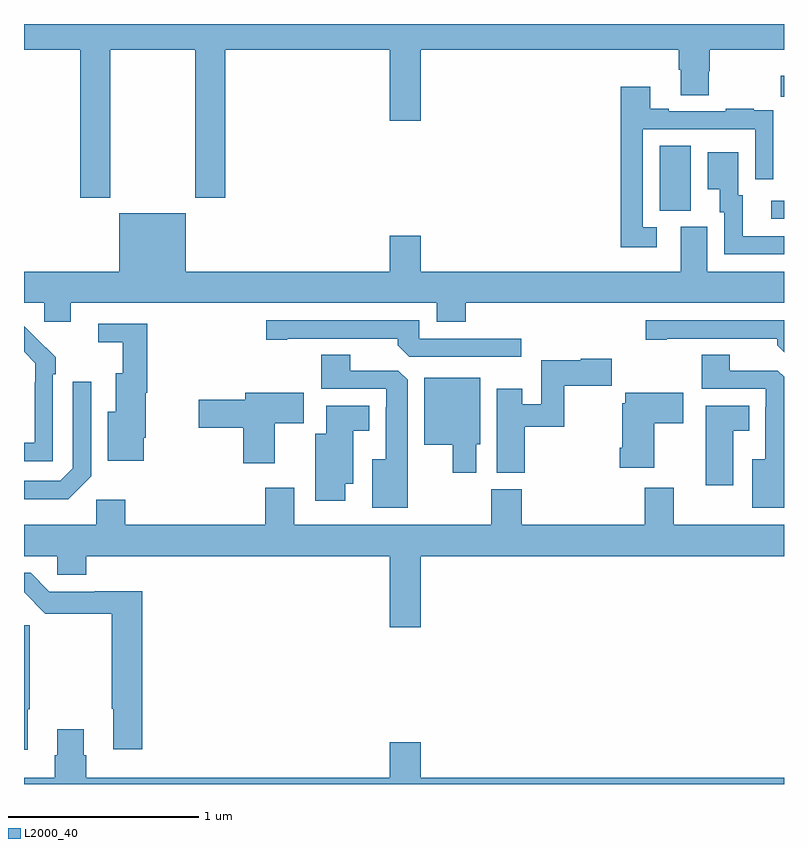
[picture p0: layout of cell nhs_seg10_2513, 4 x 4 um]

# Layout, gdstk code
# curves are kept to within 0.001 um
import gdstk
lib = gdstk.Library(unit=1e-6, precision=1e-09)
def R(c, l, rs):  # rectangles x0, y0, x1, y1
    for r in rs: c.add(gdstk.rectangle(r[:2], r[2:], *l))
def P(c, l, *ps):  # polygons
    for p in ps: c.add(gdstk.Polygon(p, *l))
L2000_40 = (2000, 40)

nhs_seg10_2513 = lib.new_cell('nhs_seg10_2513')
R(nhs_seg10_2513, L2000_40, [(250.932,1251.474,251,1251.57), (250.346,1251.517,250.51,1251.86), (250.983,1252.118,251,1252.228)])
P(nhs_seg10_2513, L2000_40, [(247,1252.364),(247.295,1252.364),(247.295,1251.585),(247.455,1251.585),(247.455,1252.364),(247.9,1252.364),(247.9,1251.585),(248.06,1251.585),(248.06,1252.364),(248.924,1252.364),(248.924,1251.99),(249.088,1251.99),(249.088,1252.364),(250.445,1252.364),(250.445,1252.258),(250.457,1252.258),(250.457,1252.126),(250.605,1252.126),(250.605,1252.251),(250.61,1252.251),(250.61,1252.364),(251,1252.364),(251,1252.5),(247,1252.5)],
  [(250.33,1251.429),(250.257,1251.429),(250.257,1251.945),(250.848,1251.945),(250.848,1251.684),(250.944,1251.684),(250.944,1251.938),(250.943,1251.938),(250.943,1252.047),(250.841,1252.047),(250.841,1252.054),(250.693,1252.054),(250.693,1252.041),(250.393,1252.041),(250.393,1252.054),(250.297,1252.054),(250.297,1252.171),(250.141,1252.171),(250.141,1251.324),(250.33,1251.324)],
  [(251,1251.384),(250.783,1251.384),(250.783,1251.6),(250.759,1251.6),(250.759,1251.826),(250.598,1251.826),(250.598,1251.629),(250.661,1251.629),(250.661,1251.51),(250.686,1251.51),(250.686,1251.288),(251,1251.288)],
  [(251,1251.196),(250.597,1251.196),(250.597,1251.432),(250.457,1251.432),(250.457,1251.196),(249.088,1251.196),(249.088,1251.385),(248.924,1251.385),(248.924,1251.196),(247.852,1251.196),(247.852,1251.505),(247.502,1251.505),(247.502,1251.196),(247,1251.196),(247,1251.032),(247.107,1251.032),(247.107,1250.934),(247.246,1250.934),(247.246,1251.032),(249.173,1251.032),(249.173,1250.933),(249.326,1250.933),(249.326,1251.032),(251,1251.032)],
  [(249.616,1250.844),(249.081,1250.844),(249.081,1250.94),(248.274,1250.94),(248.274,1250.839),(248.386,1250.839),(248.386,1250.844),(248.966,1250.844),(248.966,1250.81),(249.027,1250.748),(249.616,1250.748)],
  [(251,1250.94),(250.272,1250.94),(250.272,1250.839),(250.384,1250.839),(250.384,1250.844),(250.964,1250.844),(250.964,1250.81),(251,1250.773)],
  [(247.63,1250.322),(247.642,1250.322),(247.642,1250.558),(247.649,1250.558),(247.649,1250.922),(247.392,1250.922),(247.392,1250.825),(247.521,1250.825),(247.521,1250.662),(247.484,1250.662),(247.484,1250.458),(247.442,1250.458),(247.442,1250.201),(247.63,1250.201)],
  [(247.152,1250.657),(247.167,1250.657),(247.167,1250.745),(247,1250.91),(247,1250.774),(247.059,1250.715),(247.059,1250.615),(247.056,1250.615),(247.056,1250.295),(247,1250.295),(247,1250.199),(247.152,1250.199)],
  [(251,1250.644),(250.968,1250.676),(250.714,1250.676),(250.714,1250.759),(250.567,1250.759),(250.567,1250.58),(250.905,1250.58),(250.905,1250.483),(250.901,1250.483),(250.901,1250.209),(250.832,1250.209),(250.832,1249.955),(251,1249.955)],
  [(249.019,1250.627),(248.97,1250.676),(248.716,1250.676),(248.716,1250.759),(248.564,1250.759),(248.564,1250.58),(248.907,1250.58),(248.907,1250.483),(248.903,1250.483),(248.903,1250.209),(248.834,1250.209),(248.834,1249.955),(249.019,1249.955)],
  [(249.635,1250.38),(249.844,1250.38),(249.844,1250.596),(250.093,1250.596),(250.093,1250.739),(249.93,1250.739),(249.93,1250.731),(249.723,1250.731),(249.723,1250.499),(249.622,1250.499),(249.622,1250.581),(249.488,1250.581),(249.488,1250.137),(249.635,1250.137)],
  [(249.379,1250.289),(249.4,1250.289),(249.4,1250.638),(249.107,1250.638),(249.107,1250.285),(249.257,1250.285),(249.257,1250.139),(249.379,1250.139)],
  [(247.353,1250.121),(247.353,1250.617),(247.257,1250.617),(247.257,1250.163),(247.191,1250.097),(247,1250.097),(247,1250),(247.232,1250)],
  [(250.318,1250.398),(250.471,1250.398),(250.471,1250.56),(250.314,1250.56),(250.314,1250.558),(250.164,1250.558),(250.164,1250.505),(250.148,1250.505),(250.148,1250.269),(250.136,1250.269),(250.136,1250.165),(250.318,1250.165)],
  [(248.32,1250.398),(248.473,1250.398),(248.473,1250.56),(248.165,1250.56),(248.165,1250.522),(247.92,1250.522),(247.92,1250.375),(248.153,1250.375),(248.153,1250.187),(248.32,1250.187)],
  [(250.732,1250.36),(250.816,1250.36),(250.816,1250.491),(250.589,1250.491),(250.589,1250.073),(250.732,1250.073)],
  [(248.692,1250.081),(248.734,1250.081),(248.734,1250.36),(248.818,1250.36),(248.818,1250.491),(248.591,1250.491),(248.591,1250.344),(248.534,1250.344),(248.534,1249.992),(248.692,1249.992)],
  [(249.088,1249.7),(251,1249.7),(251,1249.864),(250.42,1249.864),(250.42,1250.059),(250.268,1250.059),(250.268,1249.864),(249.62,1249.864),(249.62,1250.052),(249.46,1250.052),(249.46,1249.864),(248.422,1249.864),(248.422,1250.059),(248.27,1250.059),(248.27,1249.864),(247.532,1249.864),(247.532,1249.996),(247.38,1249.996),(247.38,1249.864),(247,1249.864),(247,1249.7),(247.176,1249.7),(247.176,1249.602),(247.328,1249.602),(247.328,1249.7),(248.924,1249.7),(248.924,1249.326),(249.088,1249.326)],
  [(247.622,1249.514),(247.373,1249.514),(247.373,1249.512),(247.134,1249.512),(247.035,1249.611),(247,1249.611),(247,1249.508),(247.112,1249.396),(247.462,1249.396),(247.462,1248.896),(247.469,1248.896),(247.469,1248.684),(247.622,1248.684)],
  [(247.021,1248.893),(247.029,1248.893),(247.029,1249.336),(247,1249.336),(247,1248.681),(247.021,1248.681)],
  [(251,1248.532),(249.088,1248.532),(249.088,1248.721),(248.924,1248.721),(248.924,1248.532),(247.328,1248.532),(247.328,1248.651),(247.315,1248.651),(247.315,1248.787),(247.175,1248.787),(247.175,1248.651),(247.163,1248.651),(247.163,1248.532),(247,1248.532),(247,1248.5),(251,1248.5)])

lib.write_gds('nhs_seg10_2513.gds')
